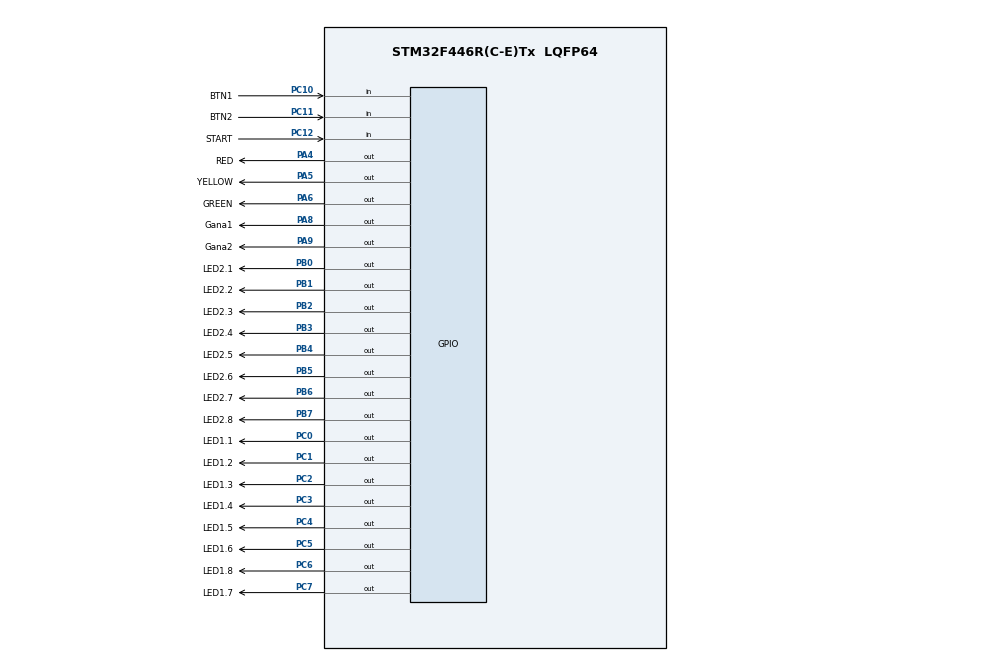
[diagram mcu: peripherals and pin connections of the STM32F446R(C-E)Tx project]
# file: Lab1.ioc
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Mcu.Family=STM32F4
Mcu.Name=STM32F446R(C-E)Tx
Mcu.Package=LQFP64
NVIC.PriorityGroup=NVIC_PRIORITYGROUP_4
PA13.Mode=Serial_Wire
PA13.Signal=SYS_JTMS-SWDIO
PA14.Mode=Serial_Wire
PA14.Signal=SYS_JTCK-SWCLK
PA4.GPIO_Label=RED
PA4.Signal=GPIO_Output
PA5.GPIO_Label=YELLOW
PA5.Signal=GPIO_Output
PA6.GPIO_Label=GREEN
PA6.Signal=GPIO_Output
PA8.GPIO_Label=Gana1
PA8.Signal=GPIO_Output
PA9.GPIO_Label=Gana2
PA9.Signal=GPIO_Output
PB0.GPIO_Label=LED2.1
PB0.Signal=GPIO_Output
PB1.GPIO_Label=LED2.2
PB1.Signal=GPIO_Output
PB2.GPIO_Label=LED2.3
PB2.Signal=GPIO_Output
PB3.GPIO_Label=LED2.4
PB3.Signal=GPIO_Output
PB4.GPIO_Label=LED2.5
PB4.Signal=GPIO_Output
PB5.GPIO_Label=LED2.6
PB5.Signal=GPIO_Output
PB6.GPIO_Label=LED2.7
PB6.Signal=GPIO_Output
PB7.GPIO_Label=LED2.8
PB7.Signal=GPIO_Output
PC0.GPIO_Label=LED1.1
PC0.Signal=GPIO_Output
PC1.GPIO_Label=LED1.2
PC1.Signal=GPIO_Output
PC10.GPIO_Label=BTN1
PC10.GPIO_PuPd=GPIO_PULLUP
PC10.Signal=GPIO_Input
PC11.GPIO_Label=BTN2
PC11.GPIO_PuPd=GPIO_PULLUP
PC11.Signal=GPIO_Input
PC12.GPIO_Label=START
PC12.GPIO_PuPd=GPIO_PULLUP
PC12.Signal=GPIO_Input
PC2.GPIO_Label=LED1.3
PC2.Signal=GPIO_Output
PC3.GPIO_Label=LED1.4
PC3.Signal=GPIO_Output
PC4.GPIO_Label=LED1.5
PC4.Signal=GPIO_Output
PC5.GPIO_Label=LED1.6
PC5.Signal=GPIO_Output
PC6.GPIO_Label=LED1.8
PC6.Signal=GPIO_Output
PC7.GPIO_Label=LED1.7
PC7.Signal=GPIO_Output
ProjectManager.HeapSize=0x200
ProjectManager.StackSize=0x400
ProjectManager.TargetToolchain=STM32CubeIDE
RCC.CortexFreq_Value=16000000
RCC.USBFreq_Value=96000000
RCC.VCOOutputFreq_Value=192000000
board=custom

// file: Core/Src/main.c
/* USER CODE BEGIN Header */
/**
  ******************************************************************************
  * @file           : main.c
  * @brief          : Main program body
  ******************************************************************************
  * @attention
  *
  * Copyright (c) 2024 STMicroelectronics.
  * All rights reserved.
  *
  * This software is licensed under terms that can be found in the LICENSE file
  * in the root directory of this software component.
  * If no LICENSE file comes with this software, it is provided AS-IS.
  *
  ******************************************************************************
  */
/* USER CODE END Header */
#include "main.h"

/* USER CODE BEGIN PV */
uint8_t jugador1 = 0;
uint8_t jugador2 = 0;
uint8_t start = 0;
/* USER CODE END PV */

void SystemClock_Config(void);
static void MX_GPIO_Init(void);

int main(void)
{

  /* MCU Configuration--------------------------------------------------------*/

  /* Reset of all peripherals, Initializes the Flash interface and the Systick. */
  HAL_Init();

  /* Configure the system clock */
  SystemClock_Config();

  /* Initialize all configured peripherals */
  MX_GPIO_Init();

  /* Infinite loop */
  /* USER CODE BEGIN WHILE */
  while (1)
  {
	  if(HAL_GPIO_ReadPin(START_GPIO_Port, START_Pin) == 0){
		  start = 1;
		  HAL_GPIO_WritePin(RED_GPIO_Port, RED_Pin, GPIO_PIN_SET);
		  HAL_Delay(500);
		  HAL_GPIO_WritePin(RED_GPIO_Port, RED_Pin, GPIO_PIN_RESET);
		  HAL_GPIO_WritePin(YELLOW_GPIO_Port, YELLOW_Pin, GPIO_PIN_SET);
		  HAL_Delay(500);
		  HAL_GPIO_WritePin(YELLOW_GPIO_Port, YELLOW_Pin, GPIO_PIN_RESET);
		  HAL_GPIO_WritePin(GREEN_GPIO_Port, GREEN_Pin, GPIO_PIN_SET);
		  HAL_Delay(500);
	  }
	  	  while(start == 1){

			  if(HAL_GPIO_ReadPin(BTN1_GPIO_Port, BTN1_Pin) == 0){
				  jugador1 = jugador1 + 1;
				  HAL_Delay (500);
			  }
			  if(HAL_GPIO_ReadPin(BTN2_GPIO_Port, BTN2_Pin) == 0){
				  jugador2 = jugador2 + 1;
				  HAL_Delay (500);
			  }

			  switch (jugador1) {
				case 1:
					HAL_GPIO_WritePin(LED1_1_GPIO_Port, LED1_1_Pin, GPIO_PIN_SET);
					break;
				case 2:
					HAL_GPIO_WritePin(LED1_1_GPIO_Port, LED1_1_Pin, GPIO_PIN_RESET);
					HAL_GPIO_WritePin(LED1_2_GPIO_Port, LED1_2_Pin, GPIO_PIN_SET);
					break;
				case 3:
					HAL_GPIO_WritePin(LED1_2_GPIO_Port, LED1_2_Pin, GPIO_PIN_RESET);
					HAL_GPIO_WritePin(LED1_3_GPIO_Port, LED1_3_Pin, GPIO_PIN_SET);
					break;
				case 4:
					HAL_GPIO_WritePin(LED1_3_GPIO_Port, LED1_3_Pin, GPIO_PIN_RESET);
					HAL_GPIO_WritePin(LED1_4_GPIO_Port, LED1_4_Pin, GPIO_PIN_SET);
					break;
				case 5:
					HAL_GPIO_WritePin(LED1_4_GPIO_Port, LED1_4_Pin, GPIO_PIN_RESET);
					HAL_GPIO_WritePin(LED1_5_GPIO_Port, LED1_5_Pin, GPIO_PIN_SET);
					break;
				case 6:
					HAL_GPIO_WritePin(LED1_5_GPIO_Port, LED1_5_Pin, GPIO_PIN_RESET);
					HAL_GPIO_WritePin(LED1_6_GPIO_Port, LED1_6_Pin, GPIO_PIN_SET);
					break;
				case 7:
					HAL_GPIO_WritePin(LED1_6_GPIO_Port, LED1_6_Pin, GPIO_PIN_RESET);
					HAL_GPIO_WritePin(LED1_7_GPIO_Port, LED1_7_Pin, GPIO_PIN_SET);
					break;
				case 8:
					HAL_GPIO_WritePin(LED1_7_GPIO_Port, LED1_7_Pin, GPIO_PIN_RESET);
					HAL_GPIO_WritePin(LED1_8_GPIO_Port, LED1_8_Pin, GPIO_PIN_SET);
					break;
			}

			  switch (jugador2) {
			  	 case 1:
			  		HAL_GPIO_WritePin(LED2_1_GPIO_Port, LED2_1_Pin, GPIO_PIN_SET);
			  		break;
			  	 case 2:
			  		HAL_GPIO_WritePin(LED2_1_GPIO_Port, LED2_1_Pin, GPIO_PIN_RESET);
			  		HAL_GPIO_WritePin(LED2_2_GPIO_Port, LED2_2_Pin, GPIO_PIN_SET);
			  		break;
			     case 3:
			    	HAL_GPIO_WritePin(LED2_2_GPIO_Port, LED2_2_Pin, GPIO_PIN_RESET);
			  		HAL_GPIO_WritePin(LED2_3_GPIO_Port, LED2_3_Pin, GPIO_PIN_SET);
			  		break;
			  	 case 4:
			  		HAL_GPIO_WritePin(LED2_3_GPIO_Port, LED2_3_Pin, GPIO_PIN_RESET);
			  		HAL_GPIO_WritePin(LED2_4_GPIO_Port, LED2_4_Pin, GPIO_PIN_SET);
			  		break;
			  	 case 5:
			  		HAL_GPIO_WritePin(LED2_4_GPIO_Port, LED2_4_Pin, GPIO_PIN_RESET);
			  		HAL_GPIO_WritePin(LED2_5_GPIO_Port, LED2_5_Pin, GPIO_PIN_SET);
			  		break;
			  	 case 6:
			  		HAL_GPIO_WritePin(LED2_5_GPIO_Port, LED2_5_Pin, GPIO_PIN_RESET);
			  		HAL_GPIO_WritePin(LED2_6_GPIO_Port, LED2_6_Pin, GPIO_PIN_SET);
			  		break;
			  	 case 7:
			  		HAL_GPIO_WritePin(LED2_6_GPIO_Port, LED2_6_Pin, GPIO_PIN_RESET);
			  		HAL_GPIO_WritePin(LED2_7_GPIO_Port, LED2_7_Pin, GPIO_PIN_SET);
			  		break;
			  	 case 8:
			  		HAL_GPIO_WritePin(LED2_7_GPIO_Port, LED2_7_Pin, GPIO_PIN_RESET);
			  		HAL_GPIO_WritePin(LED2_8_GPIO_Port, LED2_8_Pin, GPIO_PIN_SET);
			  		break;
			  			}
			  if (jugador1 >= 9) {
				jugador2 = 0;
				start = 0;
				HAL_GPIO_WritePin(Gana2_GPIO_Port, Gana2_Pin, GPIO_PIN_SET);
				HAL_GPIO_WritePin(LED2_1_GPIO_Port, LED2_1_Pin, GPIO_PIN_RESET);
				HAL_GPIO_WritePin(LED2_2_GPIO_Port, LED2_2_Pin, GPIO_PIN_RESET);
				HAL_GPIO_WritePin(LED2_3_GPIO_Port, LED2_3_Pin, GPIO_PIN_RESET);
				HAL_GPIO_WritePin(LED2_4_GPIO_Port, LED2_4_Pin, GPIO_PIN_RESET);
				HAL_GPIO_WritePin(LED2_5_GPIO_Port, LED2_5_Pin, GPIO_PIN_RESET);
				HAL_GPIO_WritePin(LED2_6_GPIO_Port, LED2_6_Pin, GPIO_PIN_RESET);
				HAL_GPIO_WritePin(LED2_7_GPIO_Port, LED2_7_Pin, GPIO_PIN_RESET);
				HAL_GPIO_WritePin(LED2_8_GPIO_Port, LED2_8_Pin, GPIO_PIN_RESET);
			  }
			  if (jugador2 >= 9) {
			 	jugador1 = 0;
			 	start = 0;
			 	HAL_GPIO_WritePin(Gana1_GPIO_Port, Gana1_Pin, GPIO_PIN_SET);
			 	HAL_GPIO_WritePin(LED1_1_GPIO_Port, LED1_1_Pin, GPIO_PIN_RESET);
			 	HAL_GPIO_WritePin(LED1_2_GPIO_Port, LED1_2_Pin, GPIO_PIN_RESET);
			 	HAL_GPIO_WritePin(LED1_3_GPIO_Port, LED1_3_Pin, GPIO_PIN_RESET);
			 	HAL_GPIO_WritePin(LED1_4_GPIO_Port, LED1_4_Pin, GPIO_PIN_RESET);
			 	HAL_GPIO_WritePin(LED1_5_GPIO_Port, LED1_5_Pin, GPIO_PIN_RESET);
			 	HAL_GPIO_WritePin(LED1_6_GPIO_Port, LED1_6_Pin, GPIO_PIN_RESET);
			 	HAL_GPIO_WritePin(LED1_7_GPIO_Port, LED1_7_Pin, GPIO_PIN_RESET);
			 	HAL_GPIO_WritePin(LED1_8_GPIO_Port, LED1_8_Pin, GPIO_PIN_RESET);
			  }

	  }
    /* USER CODE END WHILE */

  }
}

void SystemClock_Config(void)
{
  RCC_OscInitTypeDef RCC_OscInitStruct = {0};
  RCC_ClkInitTypeDef RCC_ClkInitStruct = {0};

  /** Configure the main internal regulator output voltage
  */
  __HAL_RCC_PWR_CLK_ENABLE();
  __HAL_PWR_VOLTAGESCALING_CONFIG(PWR_REGULATOR_VOLTAGE_SCALE3);

  /** Initializes the RCC Oscillators according to the specified parameters
  * in the RCC_OscInitTypeDef structure.
  */
  RCC_OscInitStruct.OscillatorType = RCC_OSCILLATORTYPE_HSI;
  RCC_OscInitStruct.HSIState = RCC_HSI_ON;
  RCC_OscInitStruct.HSICalibrationValue = RCC_HSICALIBRATION_DEFAULT;
  RCC_OscInitStruct.PLL.PLLState = RCC_PLL_NONE;
  if (HAL_RCC_OscConfig(&RCC_OscInitStruct) != HAL_OK)
  {
    Error_Handler();
  }

  /** Initializes the CPU, AHB and APB buses clocks
  */
  RCC_ClkInitStruct.ClockType = RCC_CLOCKTYPE_HCLK|RCC_CLOCKTYPE_SYSCLK
                              |RCC_CLOCKTYPE_PCLK1|RCC_CLOCKTYPE_PCLK2;
  RCC_ClkInitStruct.SYSCLKSource = RCC_SYSCLKSOURCE_HSI;
  RCC_ClkInitStruct.AHBCLKDivider = RCC_SYSCLK_DIV1;
  RCC_ClkInitStruct.APB1CLKDivider = RCC_HCLK_DIV1;
  RCC_ClkInitStruct.APB2CLKDivider = RCC_HCLK_DIV1;

  if (HAL_RCC_ClockConfig(&RCC_ClkInitStruct, FLASH_LATENCY_0) != HAL_OK)
  {
    Error_Handler();
  }
}

static void MX_GPIO_Init(void)
{
  GPIO_InitTypeDef GPIO_InitStruct = {0};

  /* GPIO Ports Clock Enable */
  __HAL_RCC_GPIOC_CLK_ENABLE();
  __HAL_RCC_GPIOA_CLK_ENABLE();
  __HAL_RCC_GPIOB_CLK_ENABLE();

  /*Configure GPIO pin Output Level */
  HAL_GPIO_WritePin(GPIOC, LED1_1_Pin|LED1_2_Pin|LED1_3_Pin|LED1_4_Pin
                          |LED1_5_Pin|LED1_6_Pin|LED1_8_Pin|LED1_7_Pin, GPIO_PIN_RESET);

  /*Configure GPIO pin Output Level */
  HAL_GPIO_WritePin(GPIOA, RED_Pin|YELLOW_Pin|GREEN_Pin|Gana1_Pin
                          |Gana2_Pin, GPIO_PIN_RESET);

  /*Configure GPIO pin Output Level */
  HAL_GPIO_WritePin(GPIOB, LED2_1_Pin|LED2_2_Pin|LED2_3_Pin|LED2_4_Pin
                          |LED2_5_Pin|LED2_6_Pin|LED2_7_Pin|LED2_8_Pin, GPIO_PIN_RESET);

  /*Configure GPIO pins : LED1_1_Pin LED1_2_Pin LED1_3_Pin LED1_4_Pin
                           LED1_5_Pin LED1_6_Pin LED1_8_Pin LED1_7_Pin */
  GPIO_InitStruct.Pin = LED1_1_Pin|LED1_2_Pin|LED1_3_Pin|LED1_4_Pin
                          |LED1_5_Pin|LED1_6_Pin|LED1_8_Pin|LED1_7_Pin;
  GPIO_InitStruct.Mode = GPIO_MODE_OUTPUT_PP;
  GPIO_InitStruct.Pull = GPIO_NOPULL;
  GPIO_InitStruct.Speed = GPIO_SPEED_FREQ_LOW;
  HAL_GPIO_Init(GPIOC, &GPIO_InitStruct);

  /*Configure GPIO pins : RED_Pin YELLOW_Pin GREEN_Pin Gana1_Pin
                           Gana2_Pin */
  GPIO_InitStruct.Pin = RED_Pin|YELLOW_Pin|GREEN_Pin|Gana1_Pin
                          |Gana2_Pin;
  GPIO_InitStruct.Mode = GPIO_MODE_OUTPUT_PP;
  GPIO_InitStruct.Pull = GPIO_NOPULL;
  GPIO_InitStruct.Speed = GPIO_SPEED_FREQ_LOW;
  HAL_GPIO_Init(GPIOA, &GPIO_InitStruct);

  /*Configure GPIO pins : LED2_1_Pin LED2_2_Pin LED2_3_Pin LED2_4_Pin
                           LED2_5_Pin LED2_6_Pin LED2_7_Pin LED2_8_Pin */
  GPIO_InitStruct.Pin = LED2_1_Pin|LED2_2_Pin|LED2_3_Pin|LED2_4_Pin
                          |LED2_5_Pin|LED2_6_Pin|LED2_7_Pin|LED2_8_Pin;
  GPIO_InitStruct.Mode = GPIO_MODE_OUTPUT_PP;
  GPIO_InitStruct.Pull = GPIO_NOPULL;
  GPIO_InitStruct.Speed = GPIO_SPEED_FREQ_LOW;
  HAL_GPIO_Init(GPIOB, &GPIO_InitStruct);

  /*Configure GPIO pins : BTN1_Pin BTN2_Pin START_Pin */
  GPIO_InitStruct.Pin = BTN1_Pin|BTN2_Pin|START_Pin;
  GPIO_InitStruct.Mode = GPIO_MODE_INPUT;
  GPIO_InitStruct.Pull = GPIO_PULLUP;
  HAL_GPIO_Init(GPIOC, &GPIO_InitStruct);

}

void Error_Handler(void)
{
  __disable_irq();
  while (1)
  {
  }
}
